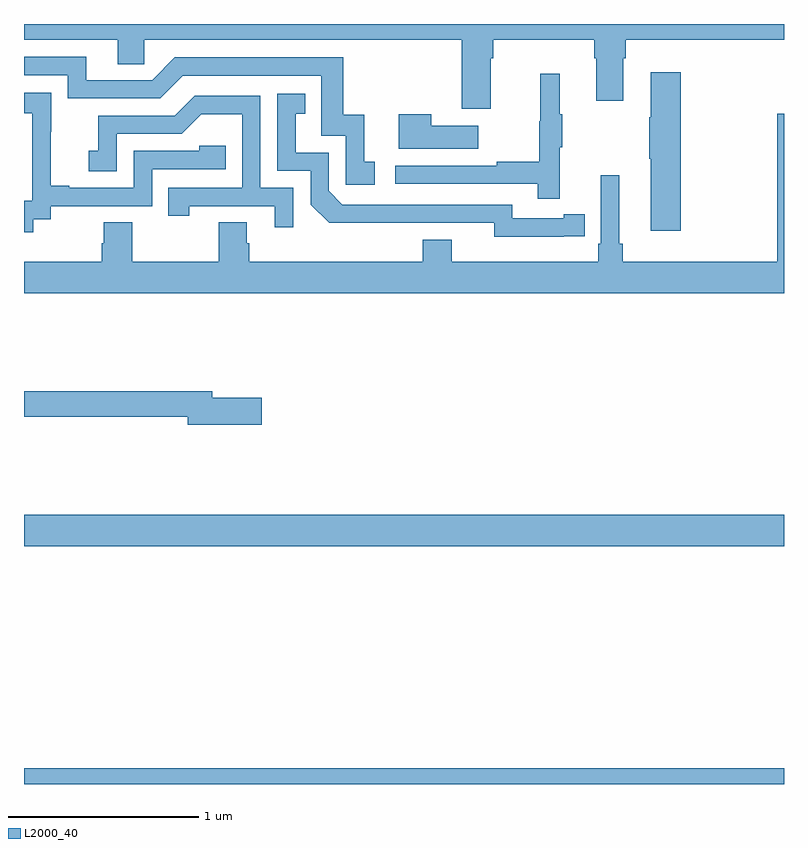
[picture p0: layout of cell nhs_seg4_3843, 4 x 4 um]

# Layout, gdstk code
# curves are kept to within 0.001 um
import gdstk
lib = gdstk.Library(unit=1e-6, precision=1e-09)
def R(c, l, rs):  # rectangles x0, y0, x1, y1
    for r in rs: c.add(gdstk.rectangle(r[:2], r[2:], *l))
def P(c, l, *ps):  # polygons
    for p in ps: c.add(gdstk.Polygon(p, *l))
L2000_40 = (2000, 40)

nhs_seg4_3843 = lib.new_cell('nhs_seg4_3843')
R(nhs_seg4_3843, L2000_40, [(313,796.9,317,796.984), (313,798.152,317,798.316)])
P(nhs_seg4_3843, L2000_40, [(315.457,800.72),(315.47,800.72),(315.47,800.816),(316.001,800.816),(316.001,800.72),(316.013,800.72),(316.013,800.496),(316.153,800.496),(316.153,800.72),(316.166,800.72),(316.166,800.816),(317,800.816),(317,800.9),(313,800.9),(313,800.816),(313.493,800.816),(313.493,800.689),(313.632,800.689),(313.632,800.816),(315.305,800.816),(315.305,800.454),(315.457,800.454)],
  [(314.845,800.175),(314.792,800.175),(314.792,800.422),(314.681,800.422),(314.681,800.724),(313.794,800.724),(313.674,800.604),(313.327,800.604),(313.327,800.727),(313,800.727),(313,800.631),(313.23,800.631),(313.23,800.508),(313.716,800.508),(313.836,800.628),(314.565,800.628),(314.565,800.313),(314.694,800.313),(314.694,800.055),(314.845,800.055)],
  [(316.457,800.647),(316.298,800.647),(316.298,800.408),(316.291,800.408),(316.291,800.191),(316.298,800.191),(316.298,799.812),(316.457,799.812)],
  [(315.821,800.251),(315.832,800.251),(315.832,800.425),(315.821,800.425),(315.821,800.638),(315.718,800.638),(315.718,800.388),(315.711,800.388),(315.711,800.174),(315.487,800.174),(315.487,800.154),(314.955,800.154),(314.955,800.058),(315.703,800.058),(315.703,799.98),(315.821,799.98)],
  [(313.048,799.873),(313.14,799.873),(313.14,799.941),(313.674,799.941),(313.674,800.136),(314.063,800.136),(314.063,800.259),(313.923,800.259),(313.923,800.232),(313.578,800.232),(313.578,800.037),(313.237,800.037),(313.237,800.05),(313.142,800.05),(313.142,800.333),(313.143,800.333),(313.143,800.539),(313,800.539),(313,800.429),(313.043,800.429),(313.043,800.201),(313.044,800.201),(313.044,799.971),(313,799.971),(313,799.803),(313.048,799.803)],
  [(315.842,799.782),(315.95,799.782),(315.95,799.898),(315.842,799.898),(315.842,799.878),(315.57,799.878),(315.57,799.95),(314.676,799.95),(314.604,800.022),(314.604,800.223),(314.431,800.223),(314.431,800.427),(314.48,800.427),(314.48,800.533),(314.334,800.533),(314.334,800.127),(314.508,800.127),(314.508,799.95),(314.606,799.853),(315.474,799.854),(315.474,799.781)],
  [(314.418,800.037),(314.244,800.037),(314.244,800.523),(313.898,800.523),(313.793,800.418),(313.39,800.418),(313.39,800.233),(313.341,800.233),(313.341,800.124),(313.488,800.124),(313.488,800.322),(313.83,800.322),(313.934,800.426),(314.148,800.426),(314.148,800.037),(313.759,800.037),(313.759,799.89),(313.87,799.89),(313.87,799.941),(314.321,799.941),(314.321,799.83),(314.418,799.83)],
  [(317,800.428),(316.964,800.428),(316.964,799.648),(316.151,799.648),(316.151,799.744),(316.132,799.744),(316.132,800.104),(316.035,800.104),(316.035,799.744),(316.022,799.744),(316.022,799.648),(315.25,799.648),(315.25,799.765),(315.098,799.765),(315.098,799.648),(314.186,799.648),(314.186,799.746),(314.173,799.746),(314.173,799.856),(314.026,799.856),(314.026,799.648),(313.569,799.648),(313.569,799.856),(313.421,799.856),(313.421,799.746),(313.409,799.746),(313.409,799.648),(313,799.648),(313,799.484),(317,799.484)],
  [(315.391,800.365),(315.143,800.365),(315.143,800.425),(314.972,800.425),(314.972,800.243),(315.391,800.243)],
  [(314.251,798.932),(313.99,798.932),(313.99,798.968),(313,798.968),(313,798.832),(313.862,798.832),(313.862,798.79),(314.251,798.79)])

lib.write_gds('nhs_seg4_3843.gds')
